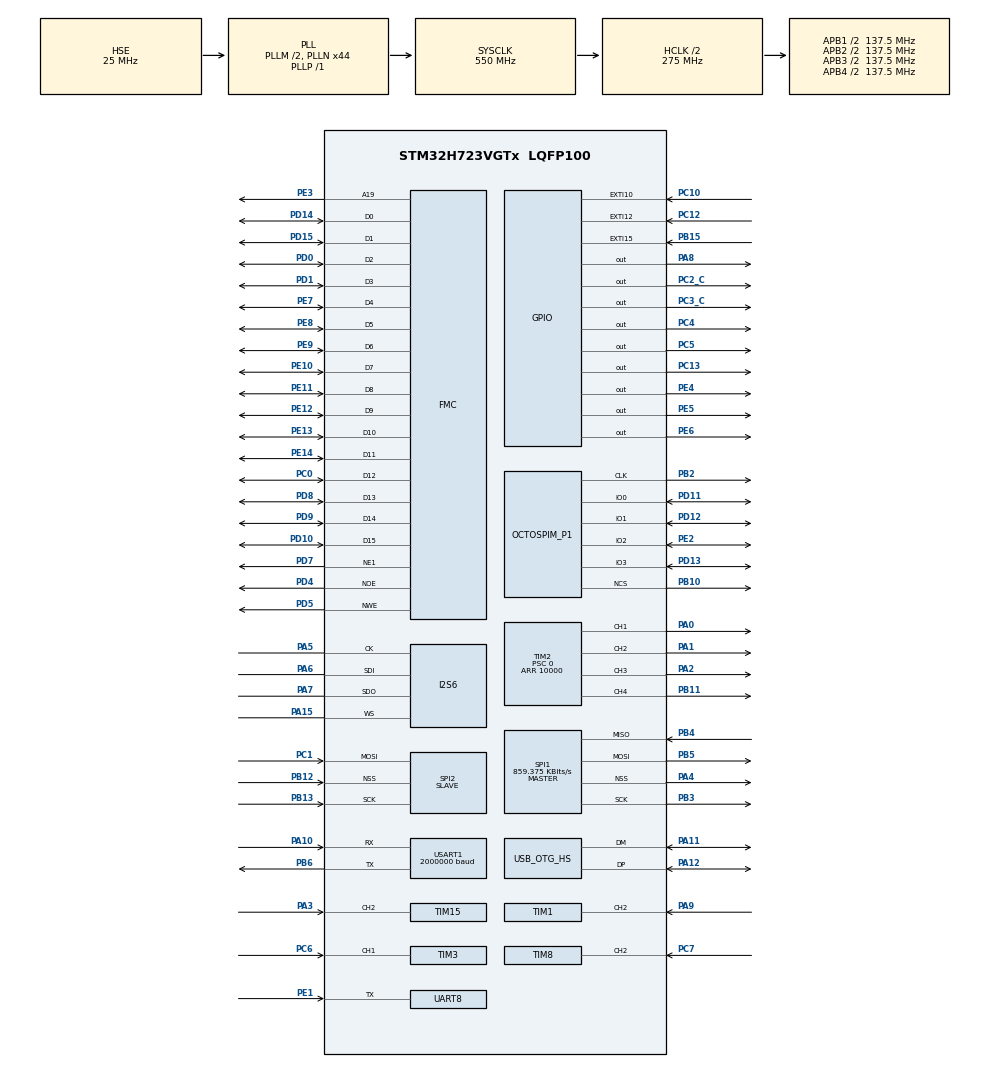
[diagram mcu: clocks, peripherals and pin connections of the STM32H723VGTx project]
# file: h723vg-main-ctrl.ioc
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CORTEX_M7.AccessPermission_Spec=MPU_REGION_FULL_ACCESS
CORTEX_M7.BaseAddress_Spec=0x60000000
CORTEX_M7.Size_Spec=MPU_REGION_SIZE_8MB
CORTEX_M7.SubRegionDisable_Spec=0x0
CORTEX_M7.default_mode_Activation=1
DMA2D.AlphaModeForeground=DMA2D_NO_MODIF_ALPHA
DMA2D.ColorMode=DMA2D_OUTPUT_RGB565
Dma.Request0=SPI2_RX
Dma.Request1=USART1_RX
Dma.Request2=USART1_TX
Dma.Request3=UART8_RX
Dma.Request4=SPI1_RX
Dma.Request5=SPI1_TX
Dma.SPI1_RX.4.Direction=DMA_PERIPH_TO_MEMORY
Dma.SPI1_RX.4.EventEnable=DISABLE
Dma.SPI1_RX.4.FIFOMode=DMA_FIFOMODE_DISABLE
Dma.SPI1_RX.4.Instance=DMA1_Stream0
Dma.SPI1_RX.4.MemDataAlignment=DMA_MDATAALIGN_BYTE
Dma.SPI1_RX.4.MemInc=DMA_MINC_ENABLE
Dma.SPI1_RX.4.Mode=DMA_NORMAL
Dma.SPI1_RX.4.PeriphDataAlignment=DMA_PDATAALIGN_BYTE
Dma.SPI1_RX.4.PeriphInc=DMA_PINC_DISABLE
Dma.SPI1_RX.4.Polarity=HAL_DMAMUX_REQ_GEN_RISING
Dma.SPI1_RX.4.Priority=DMA_PRIORITY_LOW
Dma.SPI1_RX.4.RequestNumber=1
Dma.SPI1_RX.4.SignalID=NONE
Dma.SPI1_RX.4.SyncEnable=DISABLE
Dma.SPI1_RX.4.SyncPolarity=HAL_DMAMUX_SYNC_NO_EVENT
Dma.SPI1_RX.4.SyncRequestNumber=1
Dma.SPI1_RX.4.SyncSignalID=NONE
Dma.SPI1_TX.5.Direction=DMA_MEMORY_TO_PERIPH
Dma.SPI1_TX.5.EventEnable=DISABLE
Dma.SPI1_TX.5.FIFOMode=DMA_FIFOMODE_DISABLE
Dma.SPI1_TX.5.Instance=DMA1_Stream1
Dma.SPI1_TX.5.MemDataAlignment=DMA_MDATAALIGN_BYTE
Dma.SPI1_TX.5.MemInc=DMA_MINC_ENABLE
Dma.SPI1_TX.5.Mode=DMA_NORMAL
Dma.SPI1_TX.5.PeriphDataAlignment=DMA_PDATAALIGN_BYTE
Dma.SPI1_TX.5.PeriphInc=DMA_PINC_DISABLE
Dma.SPI1_TX.5.Polarity=HAL_DMAMUX_REQ_GEN_RISING
Dma.SPI1_TX.5.Priority=DMA_PRIORITY_LOW
Dma.SPI1_TX.5.RequestNumber=1
Dma.SPI1_TX.5.SignalID=NONE
Dma.SPI1_TX.5.SyncEnable=DISABLE
Dma.SPI1_TX.5.SyncPolarity=HAL_DMAMUX_SYNC_NO_EVENT
Dma.SPI1_TX.5.SyncRequestNumber=1
Dma.SPI1_TX.5.SyncSignalID=NONE
Dma.SPI2_RX.0.Direction=DMA_PERIPH_TO_MEMORY
Dma.SPI2_RX.0.EventEnable=DISABLE
Dma.SPI2_RX.0.FIFOMode=DMA_FIFOMODE_DISABLE
Dma.SPI2_RX.0.Instance=DMA1_Stream2
Dma.SPI2_RX.0.MemDataAlignment=DMA_MDATAALIGN_BYTE
Dma.SPI2_RX.0.MemInc=DMA_MINC_ENABLE
Dma.SPI2_RX.0.Mode=DMA_NORMAL
Dma.SPI2_RX.0.PeriphDataAlignment=DMA_PDATAALIGN_BYTE
Dma.SPI2_RX.0.PeriphInc=DMA_PINC_DISABLE
Dma.SPI2_RX.0.Polarity=HAL_DMAMUX_REQ_GEN_RISING
Dma.SPI2_RX.0.Priority=DMA_PRIORITY_LOW
Dma.SPI2_RX.0.RequestNumber=1
Dma.SPI2_RX.0.SignalID=NONE
Dma.SPI2_RX.0.SyncEnable=DISABLE
Dma.SPI2_RX.0.SyncPolarity=HAL_DMAMUX_SYNC_NO_EVENT
Dma.SPI2_RX.0.SyncRequestNumber=1
Dma.SPI2_RX.0.SyncSignalID=NONE
Dma.UART8_RX.3.Direction=DMA_PERIPH_TO_MEMORY
Dma.UART8_RX.3.EventEnable=DISABLE
Dma.UART8_RX.3.FIFOMode=DMA_FIFOMODE_DISABLE
Dma.UART8_RX.3.Instance=DMA1_Stream6
Dma.UART8_RX.3.MemDataAlignment=DMA_MDATAALIGN_BYTE
Dma.UART8_RX.3.MemInc=DMA_MINC_ENABLE
Dma.UART8_RX.3.Mode=DMA_NORMAL
Dma.UART8_RX.3.PeriphDataAlignment=DMA_PDATAALIGN_BYTE
Dma.UART8_RX.3.PeriphInc=DMA_PINC_DISABLE
Dma.UART8_RX.3.Polarity=HAL_DMAMUX_REQ_GEN_RISING
Dma.UART8_RX.3.Priority=DMA_PRIORITY_LOW
Dma.UART8_RX.3.RequestNumber=1
Dma.UART8_RX.3.SignalID=NONE
Dma.UART8_RX.3.SyncEnable=DISABLE
Dma.UART8_RX.3.SyncPolarity=HAL_DMAMUX_SYNC_NO_EVENT
Dma.UART8_RX.3.SyncRequestNumber=1
Dma.UART8_RX.3.SyncSignalID=NONE
Dma.USART1_RX.1.Direction=DMA_PERIPH_TO_MEMORY
Dma.USART1_RX.1.EventEnable=DISABLE
Dma.USART1_RX.1.FIFOMode=DMA_FIFOMODE_DISABLE
Dma.USART1_RX.1.Instance=DMA1_Stream4
Dma.USART1_RX.1.MemDataAlignment=DMA_MDATAALIGN_BYTE
Dma.USART1_RX.1.MemInc=DMA_MINC_ENABLE
Dma.USART1_RX.1.Mode=DMA_NORMAL
Dma.USART1_RX.1.PeriphDataAlignment=DMA_PDATAALIGN_BYTE
Dma.USART1_RX.1.PeriphInc=DMA_PINC_DISABLE
Dma.USART1_RX.1.Polarity=HAL_DMAMUX_REQ_GEN_RISING
Dma.USART1_RX.1.Priority=DMA_PRIORITY_LOW
Dma.USART1_RX.1.RequestNumber=1
Dma.USART1_RX.1.SignalID=NONE
Dma.USART1_RX.1.SyncEnable=DISABLE
Dma.USART1_RX.1.SyncPolarity=HAL_DMAMUX_SYNC_NO_EVENT
Dma.USART1_RX.1.SyncRequestNumber=1
Dma.USART1_RX.1.SyncSignalID=NONE
Dma.USART1_TX.2.Direction=DMA_MEMORY_TO_PERIPH
Dma.USART1_TX.2.EventEnable=DISABLE
Dma.USART1_TX.2.FIFOMode=DMA_FIFOMODE_DISABLE
Dma.USART1_TX.2.Instance=DMA1_Stream5
Dma.USART1_TX.2.MemDataAlignment=DMA_MDATAALIGN_BYTE
Dma.USART1_TX.2.MemInc=DMA_MINC_ENABLE
Dma.USART1_TX.2.Mode=DMA_NORMAL
Dma.USART1_TX.2.PeriphDataAlignment=DMA_PDATAALIGN_BYTE
Dma.USART1_TX.2.PeriphInc=DMA_PINC_DISABLE
Dma.USART1_TX.2.Polarity=HAL_DMAMUX_REQ_GEN_RISING
Dma.USART1_TX.2.Priority=DMA_PRIORITY_LOW
Dma.USART1_TX.2.RequestNumber=1
Dma.USART1_TX.2.SignalID=NONE
Dma.USART1_TX.2.SyncEnable=DISABLE
Dma.USART1_TX.2.SyncPolarity=HAL_DMAMUX_SYNC_NO_EVENT
Dma.USART1_TX.2.SyncRequestNumber=1
Dma.USART1_TX.2.SyncSignalID=NONE
FMC.AddressSetupTime1=2
FMC.BusTurnAroundDuration1=0
FMC.DataSetupTime1=50
FMC.WriteFifo1=FMC_WRITE_FIFO_DISABLE
FMC.WriteFifo2=FMC_WRITE_FIFO_DISABLE
FREERTOS.Tasks01=defaultTask,24,128,StartDefaultTask,Default,NULL,Dynamic,NULL,NULL
FREERTOS.configCHECK_FOR_STACK_OVERFLOW=2
FREERTOS.configENABLE_FPU=1
FREERTOS.configTOTAL_HEAP_SIZE=32768
FREERTOS.configUSE_DAEMON_TASK_STARTUP_HOOK=1
FREERTOS.configUSE_IDLE_HOOK=1
FREERTOS.configUSE_MALLOC_FAILED_HOOK=1
FREERTOS.configUSE_TICK_HOOK=1
I2S6.AudioFreq=I2S_AUDIOFREQ_192K
I2S6.ErrorAudioFreq=1.72 %
I2S6.Instance=SPI$Index
I2S6.RealAudioFreq=195.312 KHz
Mcu.Family=STM32H7
Mcu.Name=STM32H723VGTx
Mcu.Package=LQFP100
Mdma.MDMA_Channel0.OCTOSPI1_FIFO_TH.0.BlockCount=0
Mdma.MDMA_Channel0.OCTOSPI1_FIFO_TH.0.BlockDataLength=0
Mdma.MDMA_Channel0.OCTOSPI1_FIFO_TH.0.BufferTransferLength=1
Mdma.MDMA_Channel0.OCTOSPI1_FIFO_TH.0.CircularMode=MDMA_LINEAR_LIST
Mdma.MDMA_Channel0.OCTOSPI1_FIFO_TH.0.DataAlignment=MDMA_DATAALIGN_PACKENABLE
Mdma.MDMA_Channel0.OCTOSPI1_FIFO_TH.0.DestBlockAddressOffset=0
Mdma.MDMA_Channel0.OCTOSPI1_FIFO_TH.0.DestBurst=MDMA_DEST_BURST_SINGLE
Mdma.MDMA_Channel0.OCTOSPI1_FIFO_TH.0.DestDataSize=MDMA_DEST_DATASIZE_BYTE
Mdma.MDMA_Channel0.OCTOSPI1_FIFO_TH.0.DestinationInc=MDMA_DEST_INC_BYTE
Mdma.MDMA_Channel0.OCTOSPI1_FIFO_TH.0.DstAddress=0
Mdma.MDMA_Channel0.OCTOSPI1_FIFO_TH.0.Endianness=MDMA_LITTLE_ENDIANNESS_PRESERVE
Mdma.MDMA_Channel0.OCTOSPI1_FIFO_TH.0.Instance=MDMA_Channel0
Mdma.MDMA_Channel0.OCTOSPI1_FIFO_TH.0.MaskAddress=0
Mdma.MDMA_Channel0.OCTOSPI1_FIFO_TH.0.MaskData=0
Mdma.MDMA_Channel0.OCTOSPI1_FIFO_TH.0.Priority=MDMA_PRIORITY_LOW
Mdma.MDMA_Channel0.OCTOSPI1_FIFO_TH.0.Rank=First
Mdma.MDMA_Channel0.OCTOSPI1_FIFO_TH.0.SourceBlockAddressOffset=0
Mdma.MDMA_Channel0.OCTOSPI1_FIFO_TH.0.SourceBurst=MDMA_SOURCE_BURST_SINGLE
Mdma.MDMA_Channel0.OCTOSPI1_FIFO_TH.0.SourceDataSize=MDMA_SRC_DATASIZE_BYTE
Mdma.MDMA_Channel0.OCTOSPI1_FIFO_TH.0.SourceInc=MDMA_SRC_INC_BYTE
Mdma.MDMA_Channel0.OCTOSPI1_FIFO_TH.0.SrcAddress=0
Mdma.MDMA_Channel0.OCTOSPI1_FIFO_TH.0.TransferTriggerMode=MDMA_BUFFER_TRANSFER
Mdma.MDMA_Channel0.Request0=OCTOSPI1_FIFO_TH
Mdma.MDMA_Channel0.RequestsNb=1
Mdma.RequestSet0=MDMA_Channel0
Mdma.RequestSetsNb=1
NVIC.DMA1_Stream0_IRQn=true\:5\:0\:false\:false\:true\:true\:false\:true\:true
NVIC.DMA1_Stream1_IRQn=true\:5\:0\:false\:false\:true\:true\:false\:true\:true
NVIC.DMA1_Stream2_IRQn=true\:5\:0\:false\:false\:true\:true\:false\:true\:true
NVIC.DMA1_Stream4_IRQn=true\:5\:0\:false\:false\:true\:true\:false\:true\:true
NVIC.DMA1_Stream5_IRQn=true\:5\:0\:false\:false\:true\:true\:false\:true\:true
NVIC.DMA1_Stream6_IRQn=true\:5\:0\:false\:false\:true\:true\:false\:true\:true
NVIC.MDMA_IRQn=true\:5\:0\:false\:false\:true\:true\:false\:true\:true
NVIC.OCTOSPI1_IRQn=true\:5\:0\:false\:false\:true\:true\:true\:true\:true
NVIC.PriorityGroup=NVIC_PRIORITYGROUP_4
NVIC.SPI1_IRQn=true\:5\:0\:false\:false\:true\:true\:true\:true\:true
NVIC.SPI2_IRQn=true\:5\:0\:false\:false\:true\:true\:true\:true\:true
NVIC.TIM4_IRQn=true\:15\:0\:false\:false\:true\:false\:false\:true\:true
NVIC.TimeBase=TIM4_IRQn
NVIC.TimeBaseIP=TIM4
NVIC.UART8_IRQn=true\:5\:0\:false\:false\:true\:true\:true\:true\:true
NVIC.USART1_IRQn=true\:5\:0\:false\:false\:true\:true\:true\:true\:true
OCTOSPI1.ClockPrescaler=255
PA0.Signal=S_TIM2_CH1_ETR
PA1.Signal=S_TIM2_CH2
PA10.Mode=Asynchronous
PA10.Signal=USART1_RX
PA11.Mode=Device_Only_FS
PA11.Signal=USB_OTG_HS_DM
PA12.Mode=Device_Only_FS
PA12.Signal=USB_OTG_HS_DP
PA13(JTMS/SWDIO).Mode=Serial_Wire
PA13(JTMS/SWDIO).Signal=DEBUG_JTMS-SWDIO
PA14(JTCK/SWCLK).Mode=Serial_Wire
PA14(JTCK/SWCLK).Signal=DEBUG_JTCK-SWCLK
PA15(JTDI).Mode=Full_Duplex_Master
PA15(JTDI).Signal=I2S6_WS
PA2.Signal=S_TIM2_CH3
PA3.Signal=S_TIM15_CH2
PA4.Mode=NSS_Signal_Hard_Output
PA4.Signal=SPI1_NSS
PA5.Mode=Full_Duplex_Master
PA5.Signal=I2S6_CK
PA6.Mode=Full_Duplex_Master
PA6.Signal=I2S6_SDI
PA7.Mode=Full_Duplex_Master
PA7.Signal=I2S6_SDO
PA8.GPIO_PuPd=GPIO_PULLUP
PA8.Signal=GPIO_Output
PA9.Signal=S_TIM1_CH2
PB10.Mode=OCTOSPI1_Port1_NCS
PB10.Signal=OCTOSPIM_P1_NCS
PB11.Signal=S_TIM2_CH4
PB12.Mode=NSS_Signal_Hard_Input
PB12.Signal=SPI2_NSS
PB13.Mode=RX_Only_Simplex_Unidirect_Slave
PB13.Signal=SPI2_SCK
PB14.Signal=SPI2_MISO
PB15.Signal=GPXTI15
PB2.Mode=O1_P1_CLK
PB2.Signal=OCTOSPIM_P1_CLK
PB3(JTDO/TRACESWO).Mode=Full_Duplex_Master
PB3(JTDO/TRACESWO).Signal=SPI1_SCK
PB4(NJTRST).Mode=Full_Duplex_Master
PB4(NJTRST).Signal=SPI1_MISO
PB5.Mode=Full_Duplex_Master
PB5.Signal=SPI1_MOSI
PB6.Mode=Asynchronous
PB6.Signal=USART1_TX
PC0.Signal=FMC_D12_DA12
PC1.Mode=RX_Only_Simplex_Unidirect_Slave
PC1.Signal=SPI2_MOSI
PC10.Signal=GPXTI10
PC12.Signal=GPXTI12
PC13.Signal=GPIO_Output
PC2_C.Signal=GPIO_Output
PC3_C.Signal=GPIO_Output
PC4.Signal=GPIO_Output
PC5.Signal=GPIO_Output
PC6.Signal=S_TIM3_CH1
PC7.Signal=S_TIM8_CH2
PC8.GPIO_PuPd=GPIO_NOPULL
PC8.Signal=SDMMC1_D0
PD0.Signal=FMC_D2_DA2
PD1.Signal=FMC_D3_DA3
PD10.Signal=FMC_D15_DA15
PD11.Mode=OCTOSPI1_IOL_Port1L
PD11.Signal=OCTOSPIM_P1_IO0
PD12.Mode=OCTOSPI1_IOL_Port1L
PD12.Signal=OCTOSPIM_P1_IO1
PD13.Mode=OCTOSPI1_IOL_Port1L
PD13.Signal=OCTOSPIM_P1_IO3
PD14.Signal=FMC_D0_DA0
PD15.Signal=FMC_D1_DA1
PD4.Signal=FMC_NOE
PD5.Signal=FMC_NWE
PD7.Mode=NorPsramChipSelect1_1
PD7.Signal=FMC_NE1
PD8.Signal=FMC_D13_DA13
PD9.Signal=FMC_D14_DA14
PE1.Mode=Half_duplex(single_wire_mode)
PE1.Signal=UART8_TX
PE10.Signal=FMC_D7_DA7
PE11.Signal=FMC_D8_DA8
PE12.Signal=FMC_D9_DA9
PE13.Signal=FMC_D10_DA10
PE14.Signal=FMC_D11_DA11
PE2.Mode=OCTOSPI1_IOL_Port1L
PE2.Signal=OCTOSPIM_P1_IO2
PE3.Signal=FMC_A19
PE4.Signal=GPIO_Output
PE5.Signal=GPIO_Output
PE6.Signal=GPIO_Output
PE7.Signal=FMC_D4_DA4
PE8.Signal=FMC_D5_DA5
PE9.Signal=FMC_D6_DA6
PH0-OSC_IN.Mode=HSE-External-Oscillator
PH0-OSC_IN.Signal=RCC_OSC_IN
PH1-OSC_OUT.Mode=HSE-External-Oscillator
PH1-OSC_OUT.Signal=RCC_OSC_OUT
ProjectManager.HeapSize=0x200
ProjectManager.StackSize=0x400
ProjectManager.TargetToolchain=CMake
RCC.ADCFreq_Value=50390625
RCC.APB1Freq_Value=137500000
RCC.APB2Freq_Value=137500000
RCC.APB3Freq_Value=137500000
RCC.APB4Freq_Value=137500000
RCC.CortexFreq_Value=550000000
RCC.D1PPRE=RCC_APB3_DIV2
RCC.D2PPRE1=RCC_APB1_DIV2
RCC.D2PPRE2=RCC_APB2_DIV2
RCC.D3PPRE=RCC_APB4_DIV2
RCC.DIVM1=2
RCC.DIVN1=44
RCC.DIVP1=1
RCC.DIVQ1=5
RCC.HCLKFreq_Value=275000000
RCC.HPRE=RCC_HCLK_DIV2
RCC.PLL2FRACN=0
RCC.PLL3FRACN=0
RCC.PLLFRACN=0
RCC.PLLSourceVirtual=RCC_PLLSOURCE_HSE
RCC.SYSCLKFreq_VALUE=550000000
RCC.SYSCLKSource=RCC_SYSCLKSOURCE_PLLCLK
RCC.USBCLockSelection=RCC_USBCLKSOURCE_HSI48
RCC.USBFreq_Value=48000000
SH.FMC_A19.0=FMC_A19,A19_1
SH.FMC_D0_DA0.0=FMC_D0,16b-d1
SH.FMC_D10_DA10.0=FMC_D10,16b-d1
SH.FMC_D11_DA11.0=FMC_D11,16b-d1
SH.FMC_D12_DA12.0=FMC_D12,16b-d1
SH.FMC_D13_DA13.0=FMC_D13,16b-d1
SH.FMC_D14_DA14.0=FMC_D14,16b-d1
SH.FMC_D15_DA15.0=FMC_D15,16b-d1
SH.FMC_D1_DA1.0=FMC_D1,16b-d1
SH.FMC_D2_DA2.0=FMC_D2,16b-d1
SH.FMC_D3_DA3.0=FMC_D3,16b-d1
SH.FMC_D4_DA4.0=FMC_D4,16b-d1
SH.FMC_D5_DA5.0=FMC_D5,16b-d1
SH.FMC_D6_DA6.0=FMC_D6,16b-d1
SH.FMC_D7_DA7.0=FMC_D7,16b-d1
SH.FMC_D8_DA8.0=FMC_D8,16b-d1
SH.FMC_D9_DA9.0=FMC_D9,16b-d1
SH.FMC_NOE.0=FMC_NOE,Lcd1
SH.FMC_NWE.0=FMC_NWE,Lcd1
SH.S_TIM15_CH2.0=TIM15_CH2,Input_Capture2_from_TI2
SH.S_TIM1_CH2.0=TIM1_CH2,Input_Capture2_from_TI2
SH.S_TIM2_CH1_ETR.0=TIM2_CH1,PWM Generation1 CH1
SH.S_TIM2_CH2.0=TIM2_CH2,PWM Generation2 CH2
SH.S_TIM2_CH3.0=TIM2_CH3,PWM Generation3 CH3
SH.S_TIM2_CH4.0=TIM2_CH4,PWM Generation4 CH4
SH.S_TIM3_CH1.0=TIM3_CH1,Input_Capture1_from_TI1
SH.S_TIM8_CH2.0=TIM8_CH2,Input_Capture2_from_TI2
SPI1.BaudRatePrescaler=SPI_BAUDRATEPRESCALER_128
SPI1.CLKPhase=SPI_PHASE_2EDGE
SPI1.CLKPolarity=SPI_POLARITY_HIGH
SPI1.CalculateBaudRate=859.375 KBits/s
SPI1.DataSize=SPI_DATASIZE_8BIT
SPI1.Direction=SPI_DIRECTION_2LINES
SPI1.Mode=SPI_MODE_MASTER
SPI1.NSSPMode=SPI_NSS_PULSE_DISABLE
SPI1.VirtualNSS=VM_NSSHARD
SPI1.VirtualType=VM_MASTER
SPI2.CLKPhase=SPI_PHASE_1EDGE
SPI2.CLKPolarity=SPI_POLARITY_LOW
SPI2.DataSize=SPI_DATASIZE_8BIT
SPI2.Direction=SPI_DIRECTION_2LINES_RXONLY
SPI2.Mode=SPI_MODE_SLAVE
SPI2.VirtualNSS=VM_NSSHARD
SPI2.VirtualType=VM_SLAVE
TIM1.Channel-Input_Capture2_from_TI2=TIM_CHANNEL_2
TIM1.ICPolarity_CH2=TIM_INPUTCHANNELPOLARITY_BOTHEDGE
TIM15.Channel-Input_Capture2_from_TI2=TIM_CHANNEL_2
TIM15.ICPolarity_CH2=TIM_INPUTCHANNELPOLARITY_BOTHEDGE
TIM2.Channel-PWM\ Generation1\ CH1=TIM_CHANNEL_1
TIM2.Channel-PWM\ Generation2\ CH2=TIM_CHANNEL_2
TIM2.Channel-PWM\ Generation3\ CH3=TIM_CHANNEL_3
TIM2.Channel-PWM\ Generation4\ CH4=TIM_CHANNEL_4
TIM2.OC1Preload_PWM=DISABLE
TIM2.OC2Preload_PWM=DISABLE
TIM2.OC3Preload_PWM=DISABLE
TIM2.OC4Preload_PWM=DISABLE
TIM2.Period=10000
TIM2.Prescaler=0
TIM2.Pulse-PWM\ Generation1\ CH1=10000
TIM2.Pulse-PWM\ Generation2\ CH2=10000
TIM2.Pulse-PWM\ Generation3\ CH3=10000
TIM2.Pulse-PWM\ Generation4\ CH4=10000
TIM24.Prescaler=274
TIM3.Channel-Input_Capture1_from_TI1=TIM_CHANNEL_1
TIM3.ICPolarity_CH1=TIM_INPUTCHANNELPOLARITY_BOTHEDGE
TIM8.Channel-Input_Capture2_from_TI2=TIM_CHANNEL_2
TIM8.ICPolarity_CH2=TIM_INPUTCHANNELPOLARITY_BOTHEDGE
UART8.BaudRate=921600
UART8.Mode=MODE_RX
USART1.BaudRate=2000000
USART1.VirtualMode-Asynchronous=VM_ASYNC
USB_OTG_HS.VirtualMode-Device_Only_FS=Device_Only_FS
VP_DMA2D_VS_DMA2D.Mode=DMA2D_Activate
VP_FREERTOS_VS_CMSIS_V2.Mode=CMSIS_V2
VP_MEMORYMAP_VS_MEMORYMAP.Mode=CurAppReg
VP_OCTOSPI1_VS_octo.Mode=octo_mode
VP_SYS_VS_tim4.Mode=TIM4
VP_TIM23_VS_ClockSourceINT.Mode=Internal
VP_TIM24_VS_ClockSourceINT.Mode=Internal
VP_TIM2_VS_ClockSourceINT.Mode=Internal
VP_TIM5_VS_ClockSourceINT.Mode=Internal
VP_TIM8_VS_ClockSourceINT.Mode=Internal
board=custom

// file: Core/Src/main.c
/* USER CODE BEGIN Header */
/**
  ******************************************************************************
  * @file           : main.c
  * @brief          : Main program body
  ******************************************************************************
  * @attention
  *
  * Copyright (c) 2025 STMicroelectronics.
  * All rights reserved.
  *
  * This software is licensed under terms that can be found in the LICENSE file
  * in the root directory of this software component.
  * If no LICENSE file comes with this software, it is provided AS-IS.
  *
  ******************************************************************************
  */
/* USER CODE END Header */
#include "main.h"
#include "cmsis_os.h"
#include "dma.h"
#include "dma2d.h"
#include "i2s.h"
#include "mdma.h"
#include "octospi.h"
#include "spi.h"
#include "tim.h"
#include "usart.h"
#include "usb_otg.h"
#include "gpio.h"
#include "fmc.h"

void SystemClock_Config(void);
static void MPU_Config(void);
void MX_FREERTOS_Init(void);

int main(void)
{

  /* MPU Configuration--------------------------------------------------------*/
  MPU_Config();

  /* MCU Configuration--------------------------------------------------------*/

  /* Reset of all peripherals, Initializes the Flash interface and the Systick. */
  HAL_Init();

  /* Configure the system clock */
  SystemClock_Config();

  /* USER CODE BEGIN SysInit */

    TIM_ClockConfigTypeDef sClockSourceConfig = {0};
    TIM_MasterConfigTypeDef sMasterConfig = {0};
    TIM_OC_InitTypeDef sConfigOC = {0};

    TIM_HandleTypeDef htim4 = {0};

    htim4.Instance = TIM4;
    htim4.Init.Prescaler = 274;
    htim4.Init.CounterMode = TIM_COUNTERMODE_UP;
    htim4.Init.Period = 999;
    htim4.Init.ClockDivision = TIM_CLOCKDIVISION_DIV1;
    htim4.Init.RepetitionCounter = 0;
    htim4.Init.AutoReloadPreload = TIM_AUTORELOAD_PRELOAD_DISABLE;
    if (HAL_TIM_Base_Init(&htim8) != HAL_OK)
    {
        Error_Handler();
    }
    sClockSourceConfig.ClockSource = TIM_CLOCKSOURCE_INTERNAL;
    if (HAL_TIM_ConfigClockSource(&htim8, &sClockSourceConfig) != HAL_OK)
    {
        Error_Handler();
    }
    sMasterConfig.MasterOutputTrigger = TIM_TRGO_RESET;
    sMasterConfig.MasterOutputTrigger2 = TIM_TRGO2_RESET;
    sMasterConfig.MasterSlaveMode = TIM_MASTERSLAVEMODE_DISABLE;
    if (HAL_TIMEx_MasterConfigSynchronization(&htim8, &sMasterConfig) != HAL_OK)
    {
        Error_Handler();
    }

    HAL_NVIC_SetPriority(TIM4_IRQn, 0, 0);
    HAL_NVIC_EnableIRQ(TIM4_IRQn);

    HAL_TIM_Base_Start_IT(&htim4);  // 启动定时器并使能 Update 中断

  /* USER CODE END SysInit */

  /* Initialize all configured peripherals */
  MX_GPIO_Init();
  MX_DMA_Init();
  MX_MDMA_Init();
  MX_DMA2D_Init();
  MX_FMC_Init();
  MX_OCTOSPI1_Init();
  MX_SPI2_Init();
  MX_TIM24_Init();
  MX_I2S6_Init();
  MX_SPI1_Init();
  MX_USB_OTG_HS_PCD_Init();
  MX_USART1_UART_Init();
  MX_TIM2_Init();
  MX_TIM8_Init();
  MX_UART8_Init();
  MX_TIM3_Init();
  MX_TIM5_Init();
  MX_TIM23_Init();
  MX_TIM1_Init();
  MX_TIM15_Init();

  /* Init scheduler */
  osKernelInitialize();  /* Call init function for freertos objects (in cmsis_os2.c) */
  MX_FREERTOS_Init();

  /* Start scheduler */
  osKernelStart();

  /* We should never get here as control is now taken by the scheduler */

  /* Infinite loop */
  while (1)
  {

  }
}

void SystemClock_Config(void)
{
  RCC_OscInitTypeDef RCC_OscInitStruct = {0};
  RCC_ClkInitTypeDef RCC_ClkInitStruct = {0};

  /** Supply configuration update enable
  */
  HAL_PWREx_ConfigSupply(PWR_LDO_SUPPLY);

  /** Configure the main internal regulator output voltage
  */
  __HAL_PWR_VOLTAGESCALING_CONFIG(PWR_REGULATOR_VOLTAGE_SCALE0);

  while(!__HAL_PWR_GET_FLAG(PWR_FLAG_VOSRDY)) {}

  /** Initializes the RCC Oscillators according to the specified parameters
  * in the RCC_OscInitTypeDef structure.
  */
  RCC_OscInitStruct.OscillatorType = RCC_OSCILLATORTYPE_HSI48|RCC_OSCILLATORTYPE_HSE;
  RCC_OscInitStruct.HSEState = RCC_HSE_ON;
  RCC_OscInitStruct.HSI48State = RCC_HSI48_ON;
  RCC_OscInitStruct.PLL.PLLState = RCC_PLL_ON;
  RCC_OscInitStruct.PLL.PLLSource = RCC_PLLSOURCE_HSE;
  RCC_OscInitStruct.PLL.PLLM = 2;
  RCC_OscInitStruct.PLL.PLLN = 44;
  RCC_OscInitStruct.PLL.PLLP = 1;
  RCC_OscInitStruct.PLL.PLLQ = 5;
  RCC_OscInitStruct.PLL.PLLR = 2;
  RCC_OscInitStruct.PLL.PLLRGE = RCC_PLL1VCIRANGE_3;
  RCC_OscInitStruct.PLL.PLLVCOSEL = RCC_PLL1VCOWIDE;
  RCC_OscInitStruct.PLL.PLLFRACN = 0;
  if (HAL_RCC_OscConfig(&RCC_OscInitStruct) != HAL_OK)
  {
    Error_Handler();
  }

  /** Initializes the CPU, AHB and APB buses clocks
  */
  RCC_ClkInitStruct.ClockType = RCC_CLOCKTYPE_HCLK|RCC_CLOCKTYPE_SYSCLK
                              |RCC_CLOCKTYPE_PCLK1|RCC_CLOCKTYPE_PCLK2
                              |RCC_CLOCKTYPE_D3PCLK1|RCC_CLOCKTYPE_D1PCLK1;
  RCC_ClkInitStruct.SYSCLKSource = RCC_SYSCLKSOURCE_PLLCLK;
  RCC_ClkInitStruct.SYSCLKDivider = RCC_SYSCLK_DIV1;
  RCC_ClkInitStruct.AHBCLKDivider = RCC_HCLK_DIV2;
  RCC_ClkInitStruct.APB3CLKDivider = RCC_APB3_DIV2;
  RCC_ClkInitStruct.APB1CLKDivider = RCC_APB1_DIV2;
  RCC_ClkInitStruct.APB2CLKDivider = RCC_APB2_DIV2;
  RCC_ClkInitStruct.APB4CLKDivider = RCC_APB4_DIV2;

  if (HAL_RCC_ClockConfig(&RCC_ClkInitStruct, FLASH_LATENCY_3) != HAL_OK)
  {
    Error_Handler();
  }
}

 /* MPU Configuration */

void MPU_Config(void)
{
  MPU_Region_InitTypeDef MPU_InitStruct = {0};

  /* Disables the MPU */
  HAL_MPU_Disable();

  /** Initializes and configures the Region and the memory to be protected
  */
  MPU_InitStruct.Enable = MPU_REGION_ENABLE;
  MPU_InitStruct.Number = MPU_REGION_NUMBER0;
  MPU_InitStruct.BaseAddress = 0x60000000;
  MPU_InitStruct.Size = MPU_REGION_SIZE_8MB;
  MPU_InitStruct.SubRegionDisable = 0x0;
  MPU_InitStruct.TypeExtField = MPU_TEX_LEVEL0;
  MPU_InitStruct.AccessPermission = MPU_REGION_FULL_ACCESS;
  MPU_InitStruct.DisableExec = MPU_INSTRUCTION_ACCESS_DISABLE;
  MPU_InitStruct.IsShareable = MPU_ACCESS_SHAREABLE;
  MPU_InitStruct.IsCacheable = MPU_ACCESS_NOT_CACHEABLE;
  MPU_InitStruct.IsBufferable = MPU_ACCESS_NOT_BUFFERABLE;

  HAL_MPU_ConfigRegion(&MPU_InitStruct);
  /* Enables the MPU */
  HAL_MPU_Enable(MPU_PRIVILEGED_DEFAULT);

}

void HAL_TIM_PeriodElapsedCallback(TIM_HandleTypeDef *htim)
{
  if (htim->Instance == TIM4)
  {
    HAL_IncTick();
  }
}

void Error_Handler(void)
{
  __disable_irq();
  while (1)
  {
  }
}

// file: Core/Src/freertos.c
/* USER CODE BEGIN Header */
/**
  ******************************************************************************
  * File Name          : freertos.c
  * Description        : Code for freertos applications
  ******************************************************************************
  * @attention
  *
  * Copyright (c) 2025 STMicroelectronics.
  * All rights reserved.
  *
  * This software is licensed under terms that can be found in the LICENSE file
  * in the root directory of this software component.
  * If no LICENSE file comes with this software, it is provided AS-IS.
  *
  ******************************************************************************
  */
/* USER CODE END Header */

#include "FreeRTOS.h"
#include "task.h"
#include "main.h"
#include "cmsis_os.h"

/* USER CODE BEGIN Includes */

#include "../../User/Applications/user-zone-entry.h"
/* USER CODE END Includes */

/* Definitions for defaultTask */
osThreadId_t defaultTaskHandle;
const osThreadAttr_t defaultTask_attributes = {
  .name = "defaultTask",
  .stack_size = 128 * 4,
  .priority = (osPriority_t) osPriorityNormal,
};

void StartDefaultTask(void *argument);

void MX_FREERTOS_Init(void); /* (MISRA C 2004 rule 8.1) */

/* Hook prototypes */
void vApplicationIdleHook(void);
void vApplicationTickHook(void);
void vApplicationStackOverflowHook(xTaskHandle xTask, signed char *pcTaskName);
void vApplicationMallocFailedHook(void);
void vApplicationDaemonTaskStartupHook(void);

/* USER CODE BEGIN 2 */
void vApplicationIdleHook( void )
{
   /* vApplicationIdleHook() will only be called if configUSE_IDLE_HOOK is set
   to 1 in FreeRTOSConfig.h. It will be called on each iteration of the idle
   task. It is essential that code added to this hook function never attempts
   to block in any way (for example, call xQueueReceive() with a block time
   specified, or call vTaskDelay()). If the application makes use of the
   vTaskDelete() API function (as this demo application does) then it is also
   important that vApplicationIdleHook() is permitted to return to its calling
   function, because it is the responsibility of the idle task to clean up
   memory allocated by the kernel to any task that has since been deleted. */
}
/* USER CODE END 2 */

/* USER CODE BEGIN 3 */
void vApplicationTickHook( void )
{
   /* This function will be called by each tick interrupt if
   configUSE_TICK_HOOK is set to 1 in FreeRTOSConfig.h. User code can be
   added here, but the tick hook is called from an interrupt context, so
   code must not attempt to block, and only the interrupt safe FreeRTOS API
   functions can be used (those that end in FromISR()). */
}
/* USER CODE END 3 */

/* USER CODE BEGIN 4 */
__weak void vApplicationStackOverflowHook(xTaskHandle xTask, signed char *pcTaskName)
{
   /* Run time stack overflow checking is performed if
   configCHECK_FOR_STACK_OVERFLOW is defined to 1 or 2. This hook function is
   called if a stack overflow is detected. */
}
/* USER CODE END 4 */

/* USER CODE BEGIN 5 */
__weak void vApplicationMallocFailedHook(void)
{
   /* vApplicationMallocFailedHook() will only be called if
   configUSE_MALLOC_FAILED_HOOK is set to 1 in FreeRTOSConfig.h. It is a hook
   function that will get called if a call to pvPortMalloc() fails.
   pvPortMalloc() is called internally by the kernel whenever a task, queue,
   timer or semaphore is created. It is also called by various parts of the
   demo application. If heap_1.c or heap_2.c are used, then the size of the
   heap available to pvPortMalloc() is defined by configTOTAL_HEAP_SIZE in
   FreeRTOSConfig.h, and the xPortGetFreeHeapSize() API function can be used
   to query the size of free heap space that remains (although it does not
   provide information on how the remaining heap might be fragmented). */
}
/* USER CODE END 5 */

/* USER CODE BEGIN DAEMON_TASK_STARTUP_HOOK */
void vApplicationDaemonTaskStartupHook(void)
{
}
/* USER CODE END DAEMON_TASK_STARTUP_HOOK */

void MX_FREERTOS_Init(void) {

  /* Create the thread(s) */
  /* creation of defaultTask */
  defaultTaskHandle = osThreadNew(StartDefaultTask, NULL, &defaultTask_attributes);

  /* USER CODE BEGIN RTOS_THREADS */
  /* add threads, ... */

    userZoneEntry();
  /* USER CODE END RTOS_THREADS */

}

void StartDefaultTask(void *argument)
{
  for(;;)
  {
    osDelay(1);
  }
}
